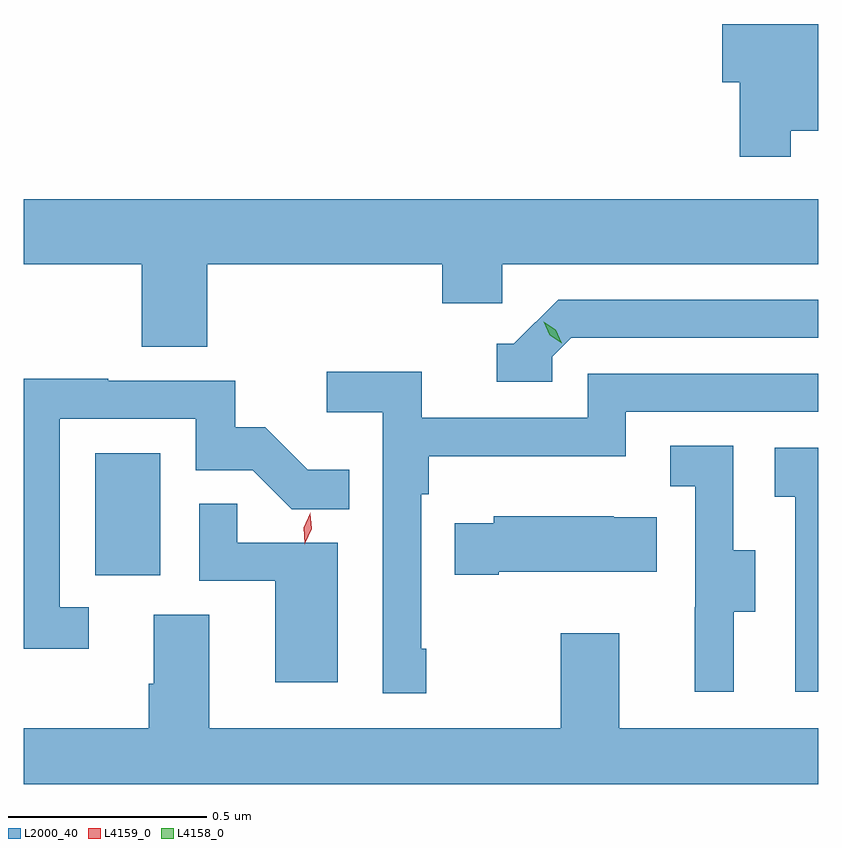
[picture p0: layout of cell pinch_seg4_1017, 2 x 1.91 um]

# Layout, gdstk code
import gdstk
lib = gdstk.Library(unit=1e-6, precision=1e-09)
def R(c, l, rs):  # rectangles x0, y0, x1, y1
    for r in rs: c.add(gdstk.rectangle(r[:2], r[2:], *l))
def P(c, l, *ps):  # polygons
    for p in ps: c.add(gdstk.Polygon(p, *l))
L2000_40 = (2000, 40)
L4158_0 = (4158, 0)
L4159_0 = (4159, 0)

pinch_seg4_1017 = lib.new_cell('pinch_seg4_1017')
R(pinch_seg4_1017, L2000_40, [(830.21,782.718,830.374,783.025)])
P(pinch_seg4_1017, L2000_40, [(831.961,783.836),(832.03,783.836),(832.03,784.105),(831.788,784.105),(831.788,783.958),(831.832,783.958),(831.832,783.771),(831.961,783.771)],
  [(830.492,783.5),(831.083,783.5),(831.083,783.402),(831.234,783.402),(831.234,783.5),(832.03,783.5),(832.03,783.664),(830.03,783.664),(830.03,783.5),(830.327,783.5),(830.327,783.292),(830.492,783.292)],
  [(831.36,783.267),(831.408,783.315),(832.03,783.315),(832.03,783.411),(831.375,783.411),(831.264,783.3),(831.221,783.3),(831.221,783.204),(831.36,783.204)],
  [(831.043,782.533),(831.03,782.533),(831.03,782.921),(831.05,782.921),(831.05,783.017),(831.546,783.017),(831.546,783.129),(832.03,783.129),(832.03,783.225),(831.45,783.225),(831.45,783.114),(831.032,783.114),(831.032,783.23),(830.793,783.23),(830.793,783.128),(830.934,783.128),(830.934,782.421),(831.043,782.421)],
  [(830.194,782.637),(830.121,782.637),(830.121,783.111),(830.463,783.111),(830.463,782.982),(830.607,782.982),(830.705,782.884),(830.849,782.884),(830.849,782.983),(830.745,782.983),(830.638,783.09),(830.562,783.09),(830.562,783.207),(830.243,783.207),(830.243,783.212),(830.03,783.212),(830.03,782.532),(830.194,782.532)],
  [(831.817,782.626),(831.871,782.626),(831.871,782.781),(831.816,782.781),(831.816,783.044),(831.657,783.044),(831.657,782.941),(831.72,782.941),(831.72,782.637),(831.719,782.637),(831.719,782.424),(831.817,782.424)],
  [(832.03,783.039),(831.921,783.039),(831.921,782.915),(831.972,782.915),(831.972,782.424),(832.03,782.424)],
  [(830.821,782.799),(830.567,782.799),(830.567,782.897),(830.472,782.897),(830.472,782.703),(830.663,782.703),(830.663,782.448),(830.821,782.448)],
  [(831.226,782.726),(831.623,782.726),(831.623,782.863),(831.515,782.863),(831.515,782.866),(831.213,782.866),(831.213,782.848),(831.115,782.848),(831.115,782.719),(831.226,782.719)],
  [(832.03,782.332),(831.529,782.332),(831.529,782.572),(831.382,782.572),(831.382,782.332),(830.497,782.332),(830.497,782.618),(830.357,782.618),(830.357,782.444),(830.345,782.444),(830.345,782.332),(830.03,782.332),(830.03,782.192),(832.03,782.192)])
P(pinch_seg4_1017, L4158_0, [(831.384,783.301),(831.354,783.322),(831.339,783.355),(831.339,783.355),(831.339,783.355),(831.369,783.335),(831.384,783.302),(831.384,783.301)])
P(pinch_seg4_1017, L4159_0, [(830.738,782.796),(830.738,782.797),(830.735,782.837),(830.751,782.874),(830.751,782.875),(830.751,782.874),(830.755,782.834),(830.738,782.797)])

lib.write_gds('pinch_seg4_1017.gds')
